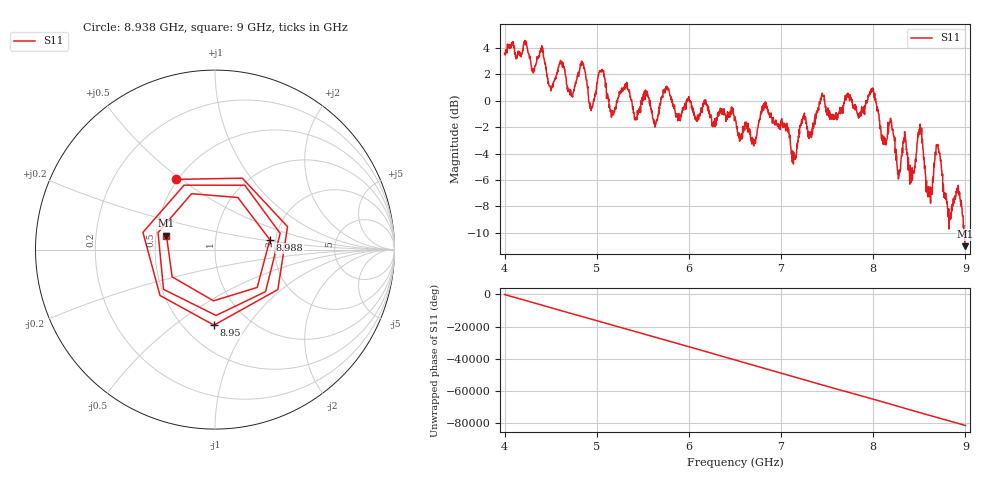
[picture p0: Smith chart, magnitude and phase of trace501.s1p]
! Created with skrf 1.8.0 (http://scikit-rf.org).
# Hz S RI R 50.0
!freq ReS11 ImS11
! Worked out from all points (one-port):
!   1601 points, 4 GHz to 9 GHz, reference 50 ohm
!   lowest |S11| = -11.0 dB at 9 GHz (marker M1), VSWR 1.78, Z = 28.4 + j4.81 ohm
!   |S11| at or under -10 dB: 8.984464 GHz to end of sweep
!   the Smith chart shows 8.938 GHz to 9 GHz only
!   S11 on the Smith chart (normalised r, x): 8.938 GHz: 0.49, +0.48; 8.95 GHz: 0.69, -0.71; 8.988 GHz: 1.86, +0.23; 9 GHz: 0.57, +0.10
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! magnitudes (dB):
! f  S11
! 4 GHz  3.6
! 4.503 GHz  0.7
! 4.625 GHz  2.9
! 4.725 GHz  0.4
! 4.847 GHz  2.7
! 4.938 GHz  -0.7
! 5.05 GHz  2.2
! 5.159 GHz  -1.3
! 5.25 GHz  0.5
! 5.875 GHz  -1.2
! 6.5 GHz  -1.2
! 6.7 GHz  -3.2
! 6.828 GHz  -0.1
! 7.125 GHz  -3.8
! 7.441 GHz  0.4
! 7.75 GHz  0.4
! 7.991 GHz  0.7
! 8.275 GHz  -5.9
! 8.375 GHz  -4.9
! 8.428 GHz  -5.3
! 8.509 GHz  -1.8
! 8.597 GHz  -6.5
! 8.697 GHz  -3.5
! 8.822 GHz  -9.7
! 8.938 GHz  -7.0
! 8.95 GHz  -7.5
! 8.988 GHz  -10.2
! 9 GHz  -11.0
